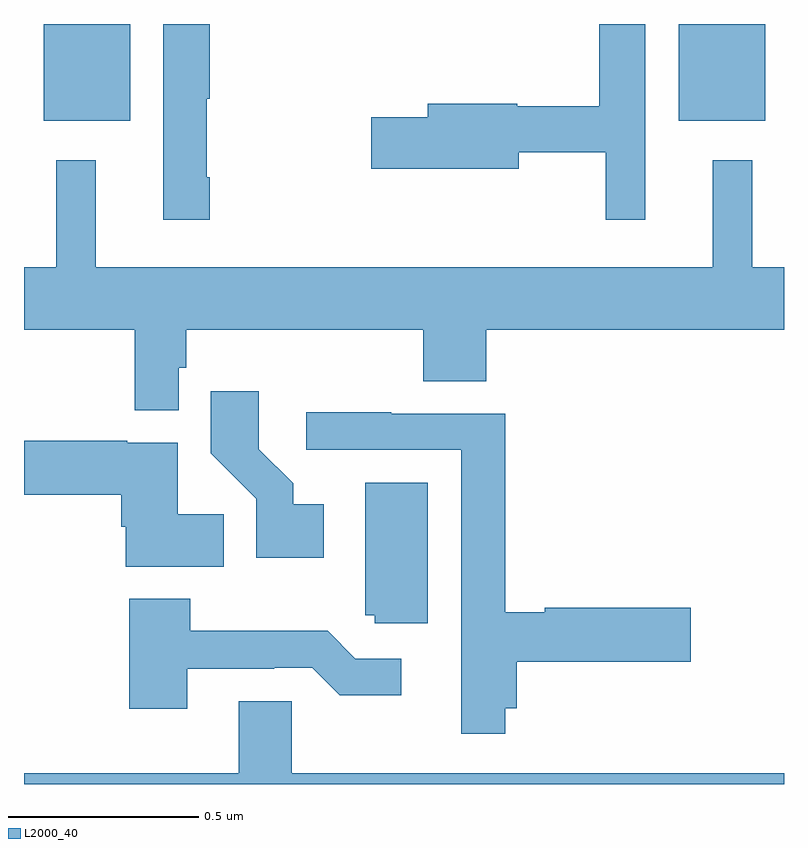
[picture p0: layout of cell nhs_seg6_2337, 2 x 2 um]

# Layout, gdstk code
import gdstk
lib = gdstk.Library(unit=1e-6, precision=1e-09)
def R(c, l, rs):  # rectangles x0, y0, x1, y1
    for r in rs: c.add(gdstk.rectangle(r[:2], r[2:], *l))
def P(c, l, *ps):  # polygons
    for p in ps: c.add(gdstk.Polygon(p, *l))
L2000_40 = (2000, 40)

nhs_seg6_2337 = lib.new_cell('nhs_seg6_2337')
R(nhs_seg6_2337, L2000_40, [(142.052,921.245,142.279,921.499), (143.723,921.245,143.95,921.499)])
P(nhs_seg6_2337, L2000_40, [(143.635,921.5),(143.514,921.5),(143.514,921.283),(143.298,921.283),(143.298,921.29),(143.063,921.29),(143.063,921.254),(142.914,921.254),(142.914,921.119),(143.302,921.119),(143.302,921.162),(143.531,921.162),(143.531,920.985),(143.635,920.985)],
  [(142.489,921.097),(142.481,921.097),(142.481,921.303),(142.489,921.303),(142.489,921.5),(142.367,921.5),(142.367,920.985),(142.489,920.985)],
  [(142.407,920.595),(142.427,920.595),(142.427,920.696),(143.051,920.696),(143.051,920.56),(143.216,920.56),(143.216,920.696),(144,920.696),(144,920.86),(143.917,920.86),(143.917,921.142),(143.813,921.142),(143.813,920.86),(142.189,920.86),(142.189,921.142),(142.085,921.142),(142.085,920.86),(142,920.86),(142,920.696),(142.291,920.696),(142.291,920.483),(142.407,920.483)],
  [(142.789,920.236),(142.708,920.236),(142.708,920.291),(142.618,920.381),(142.618,920.533),(142.492,920.533),(142.492,920.37),(142.611,920.251),(142.611,920.096),(142.789,920.096)],
  [(143.267,919.7),(143.297,919.7),(143.297,919.822),(143.755,919.822),(143.755,919.964),(143.37,919.964),(143.37,919.952),(143.267,919.952),(143.267,920.475),(142.967,920.475),(142.967,920.478),(142.743,920.478),(142.743,920.379),(143.151,920.379),(143.151,919.632),(143.267,919.632)],
  [(142.526,920.21),(142.405,920.21),(142.405,920.398),(142.272,920.398),(142.272,920.403),(142,920.403),(142,920.261),(142.256,920.261),(142.256,920.177),(142.268,920.177),(142.268,920.072),(142.526,920.072)],
  [(143.062,920.293),(142.898,920.293),(142.898,919.944),(142.923,919.944),(142.923,919.923),(143.062,919.923)],
  [(142.429,919.803),(142.658,919.803),(142.658,919.806),(142.758,919.806),(142.831,919.733),(142.993,919.733),(142.993,919.83),(142.872,919.83),(142.799,919.903),(142.437,919.903),(142.437,919.987),(142.277,919.987),(142.277,919.698),(142.429,919.698)],
  [(144,919.528),(142.704,919.528),(142.704,919.718),(142.565,919.718),(142.565,919.528),(142,919.528),(142,919.5),(144,919.5)])

lib.write_gds('nhs_seg6_2337.gds')
